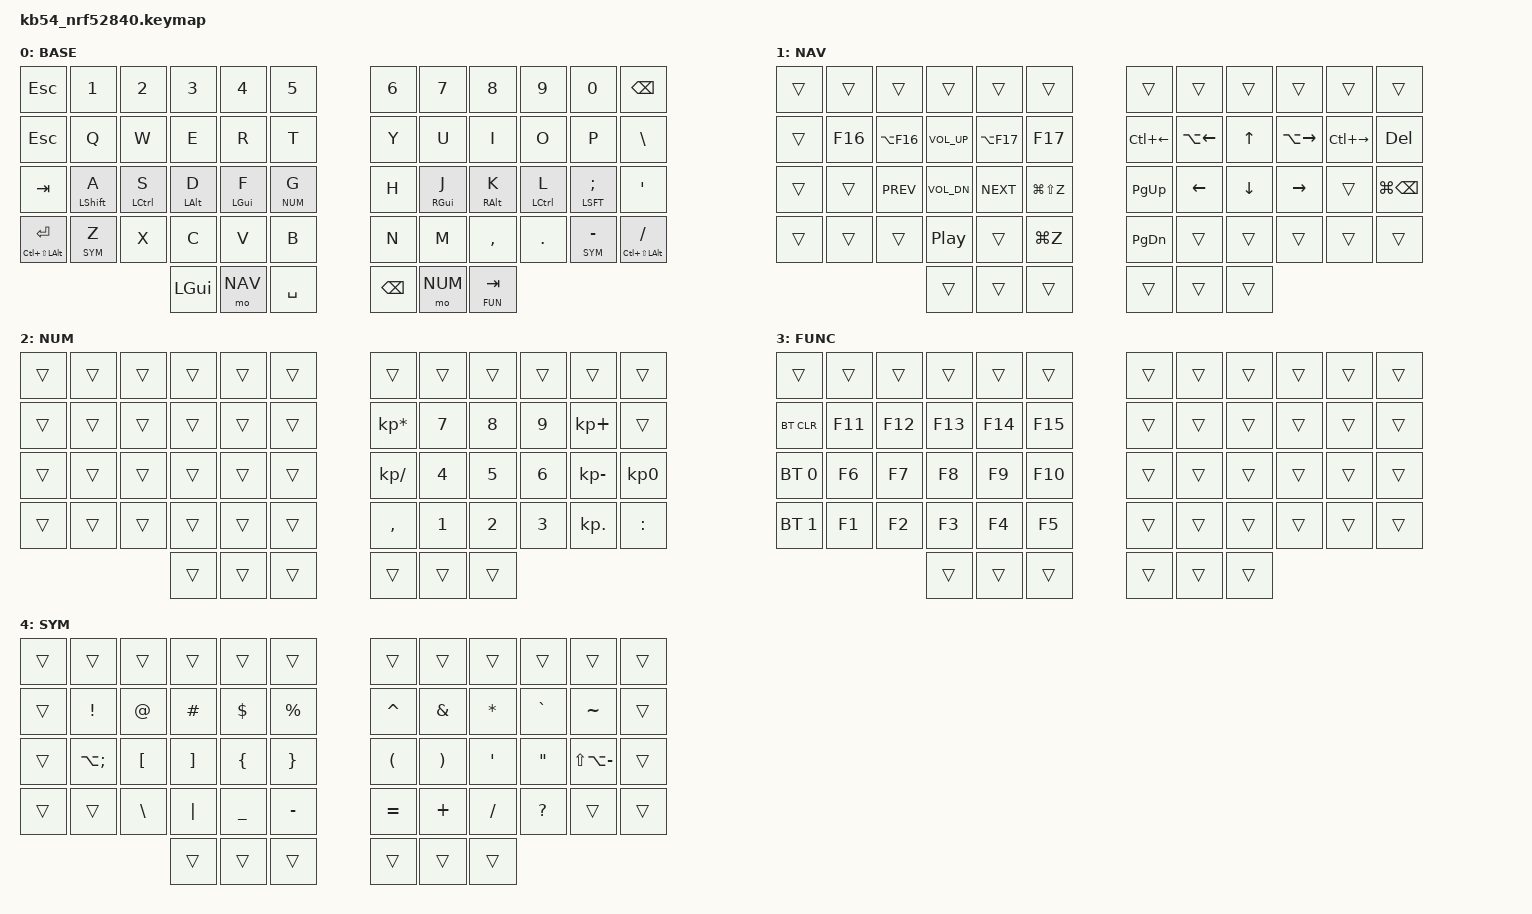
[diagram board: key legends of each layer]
/*
 * Copyright (c) 2020 The ZMK Contributors
 *
 * SPDX-License-Identifier: MIT
 */

#include <behaviors.dtsi>
#include <dt-bindings/zmk/keys.h>
#include <dt-bindings/zmk/bt.h>

#define NAV 1
#define NUM 2
#define FUN 3
#define SYM 4

#define ___ &trans

#define UMDO LG(Z)
#define REDO LG(LS(Z))
#define MEH LC(LS(LALT))

#define PLAY C_PP
#define NEXT C_NEXT
#define PREV C_PREV
#define VOL_DN C_VOL_DN
#define VOL_UP C_VOL_UP
#define KAST KP_ASTERISK
#define KPSL KP_SLASH
#define MDASH LS(LA(MINUS))

#define NXTB F17 // next tab
#define PVTB F16 // prev tab
#define FWD LA(F17) // forward
#define BCK LA(F16) // back

/ {
   behaviors {
        hm: homerow_mods {
            compatible = "zmk,behavior-hold-tap";
            label = "HOMEROW_MODS";
            #binding-cells = <2>;
            tapping-term-ms = <211>;
            quick_tap_ms = <0>;
            flavor = "tap-preferred";
            bindings = <&kp>, <&kp>;
        };
    };
    keymap {
        compatible = "zmk,keymap";

        default_layer {
            display-name = "BASE";
            bindings = <
// ╭──────────────┬──────────────┬──────────────┬──────────────┬──────────────┬──────────────╮    ╭──────────────┬──────────────┬──────────────┬──────────────┬──────────────┬──────────────╮
     &kp ESC        &kp N1         &kp N2         &kp N3         &kp N4         &kp N5              &kp N6         &kp N7         &kp N8         &kp N9         &kp N0         &kp BKSP
// ├──────────────┼──────────────┼──────────────┼──────────────┼──────────────┼──────────────┤    ├──────────────┼──────────────┼──────────────┼──────────────┼──────────────┼──────────────┤
     &kp ESC        &kp Q          &kp W          &kp E          &kp R          &kp T               &kp Y          &kp U          &kp I          &kp O          &kp P          &kp BSLH
// ├──────────────┼──────────────┼──────────────┼──────────────┼──────────────┼──────────────┤    ├──────────────┼──────────────┼──────────────┼──────────────┼──────────────┼──────────────┤
     &kp TAB        &hm LSHFT A    &hm LCTRL S    &hm LALT D     &hm LGUI F     &lt NUM G           &kp H          &hm RGUI J     &hm RALT K     &hm LCTRL L    &hm LSFT SEMI  &kp SQT
// ├──────────────┼──────────────┼──────────────┼──────────────┼──────────────┼──────────────┤    ├──────────────┼──────────────┼──────────────┼──────────────┼──────────────┼──────────────┤
     &hm MEH RET    &lt SYM Z      &kp X          &kp C          &kp V          &kp B               &kp N          &kp M          &kp COMMA      &kp DOT        &lt SYM MINUS  &hm MEH SLASH
// ╰──────────────┴──────────────┴──────────────┴──────────────┼──────────────┼──────────────┤    ├──────────────┼──────────────┼──────────────┼──────────────┼──────────────┼──────────────╯
                                                  &kp LGUI       &mo NAV        &kp SPACE           &kp BKSP       &mo NUM        &lt FUN TAB
//                                              ╰──────────────┴──────────────┴──────────────╯    ╰──────────────┴──────────────┴──────────────╯
            >;
        };

        nav_layer {
            display-name = "NAV";
            bindings = <
// ╭──────────────┬──────────────┬──────────────┬──────────────┬──────────────┬──────────────╮    ╭──────────────┬──────────────┬──────────────┬──────────────┬──────────────┬──────────────╮
     ___            ___            ___            ___            ___            ___                 ___            ___            ___            ___            ___            ___
// ├──────────────┼──────────────┼──────────────┼──────────────┼──────────────┼──────────────┤    ├──────────────┼──────────────┼──────────────┼──────────────┼──────────────┼──────────────┤
     ___            &kp PVTB       &kp BCK        &kp VOL_UP     &kp FWD        &kp NXTB            &kp LC(LEFT)   &kp LA(LEFT)   &kp UP         &kp LA(RIGHT)  &kp LC(RIGHT)  &kp DEL
// ├──────────────┼──────────────┼──────────────┼──────────────┼──────────────┼──────────────┤    ├──────────────┼──────────────┼──────────────┼──────────────┼──────────────┼──────────────┤
     ___            ___            &kp PREV       &kp VOL_DN     &kp NEXT       &kp REDO            &kp PG_UP      &kp LEFT       &kp DOWN       &kp RIGHT      ___            &kp LG(BKSP)
// ├──────────────┼──────────────┼──────────────┼──────────────┼──────────────┼──────────────┤    ├──────────────┼──────────────┼──────────────┼──────────────┼──────────────┼──────────────┤
     ___            ___            ___            &kp PLAY       ___            &kp UMDO            &kp PG_DN      ___            ___            ___            ___            ___   
// ╰──────────────┴──────────────┴──────────────┴──────────────┼──────────────┼──────────────┤    ├──────────────┼──────────────┼──────────────┼──────────────┼──────────────┼──────────────╯
                                                  ___            ___            ___                 ___            ___            ___   
//                                              ╰──────────────┴──────────────┴──────────────╯    ╰──────────────┴──────────────┴──────────────╯
            >;
        };

        numbers_layer {
            display-name = "NUM";
            bindings = <
// ╭──────────────┬──────────────┬──────────────┬──────────────┬──────────────┬──────────────╮    ╭──────────────┬──────────────┬──────────────┬──────────────┬──────────────┬──────────────╮
     ___            ___            ___            ___            ___            ___                 ___            ___            ___            ___            ___            ___
// ├──────────────┼──────────────┼──────────────┼──────────────┼──────────────┼──────────────┤    ├──────────────┼──────────────┼──────────────┼──────────────┼──────────────┼──────────────┤
     ___            ___            ___            ___            ___            ___                 &kp KAST       &kp N7         &kp N8         &kp N9         &kp KP_PLUS    ___   
// ├──────────────┼──────────────┼──────────────┼──────────────┼──────────────┼──────────────┤    ├──────────────┼──────────────┼──────────────┼──────────────┼──────────────┼──────────────┤
     ___            ___            ___            ___            ___            ___                 &kp KPSL       &kp N4         &kp N5         &kp N6         &kp KP_MINUS   &kp KP_N0
// ├──────────────┼──────────────┼──────────────┼──────────────┼──────────────┼──────────────┤    ├──────────────┼──────────────┼──────────────┼──────────────┼──────────────┼──────────────┤
     ___            ___            ___            ___            ___            ___                 &kp CMMA       &kp N1         &kp N2         &kp N3         &kp KP_DOT     &kp COLON
// ╰──────────────┴──────────────┴──────────────┴──────────────┼──────────────┼──────────────┤    ├──────────────┼──────────────┼──────────────┼──────────────┼──────────────┼──────────────╯
                                                  ___            ___            ___                 ___            ___            ___   
//                                              ╰──────────────┴──────────────┴──────────────╯    ╰──────────────┴──────────────┴──────────────╯
            >;
        };

        function_layer {
            display-name = "FUNC";
            bindings = <
// ╭──────────────┬──────────────┬──────────────┬──────────────┬──────────────┬──────────────╮    ╭──────────────┬──────────────┬──────────────┬──────────────┬──────────────┬──────────────╮
     ___            ___            ___            ___            ___            ___                 ___            ___            ___            ___            ___            ___
// ├──────────────┼──────────────┼──────────────┼──────────────┼──────────────┼──────────────┤    ├──────────────┼──────────────┼──────────────┼──────────────┼──────────────┼──────────────┤
     &bt BT_CLR     &kp F11        &kp F12        &kp F13        &kp F14        &kp F15             ___            ___            ___            ___            ___            ___   
// ├──────────────┼──────────────┼──────────────┼──────────────┼──────────────┼──────────────┤    ├──────────────┼──────────────┼──────────────┼──────────────┼──────────────┼──────────────┤
     &bt BT_SEL 0   &kp F6         &kp F7         &kp F8         &kp F9         &kp F10             ___            ___            ___            ___            ___            ___   
// ├──────────────┼──────────────┼──────────────┼──────────────┼──────────────┼──────────────┤    ├──────────────┼──────────────┼──────────────┼──────────────┼──────────────┼──────────────┤
     &bt BT_SEL 1   &kp F1         &kp F2         &kp F3         &kp F4         &kp F5              ___            ___            ___            ___            ___            ___   
// ╰──────────────┴──────────────┴──────────────┴──────────────┼──────────────┼──────────────┤    ├──────────────┼──────────────┼──────────────┼──────────────┼──────────────┼──────────────╯
                                                  ___            ___            ___                 ___            ___            ___   
//                                              ╰──────────────┴──────────────┴──────────────╯    ╰──────────────┴──────────────┴──────────────╯
            >;
        };

        symbols_layer {
            display-name = "SYM";
            bindings = <
// ╭──────────────┬──────────────┬──────────────┬──────────────┬──────────────┬──────────────╮    ╭──────────────┬──────────────┬──────────────┬──────────────┬──────────────┬──────────────╮
     ___            ___            ___            ___            ___            ___                 ___            ___            ___            ___            ___            ___
// ├──────────────┼──────────────┼──────────────┼──────────────┼──────────────┼──────────────┤    ├──────────────┼──────────────┼──────────────┼──────────────┼──────────────┼──────────────┤
     ___            &kp EXCL       &kp AT         &kp HASH       &kp DLLR       &kp PRCNT           &kp CARET      &kp AMPS       &kp STAR       &kp GRAVE      &kp TILDE      ___   
// ├──────────────┼──────────────┼──────────────┼──────────────┼──────────────┼──────────────┤    ├──────────────┼──────────────┼──────────────┼──────────────┼──────────────┼──────────────┤
     ___            &kp LA(SEMI)   &kp LBKT       &kp RBKT       &kp LBRC       &kp RBRC            &kp LPAR       &kp RPAR       &kp SQT        &kp DQT        &kp MDASH      ___   
// ├──────────────┼──────────────┼──────────────┼──────────────┼──────────────┼──────────────┤    ├──────────────┼──────────────┼──────────────┼──────────────┼──────────────┼──────────────┤
     ___            ___            &kp BSLH       &kp PIPE       &kp UNDER      &kp MINUS           &kp EQUAL      &kp PLUS       &kp SLASH      &kp QMARK      ___            ___   
// ╰──────────────┴──────────────┴──────────────┴──────────────┼──────────────┼──────────────┤    ├──────────────┼──────────────┼──────────────┼──────────────┼──────────────┼──────────────╯
                                                  ___            ___            ___                 ___            ___            ___   
//                                              ╰──────────────┴──────────────┴──────────────╯    ╰──────────────┴──────────────┴──────────────╯
            >;
        };

    };
};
